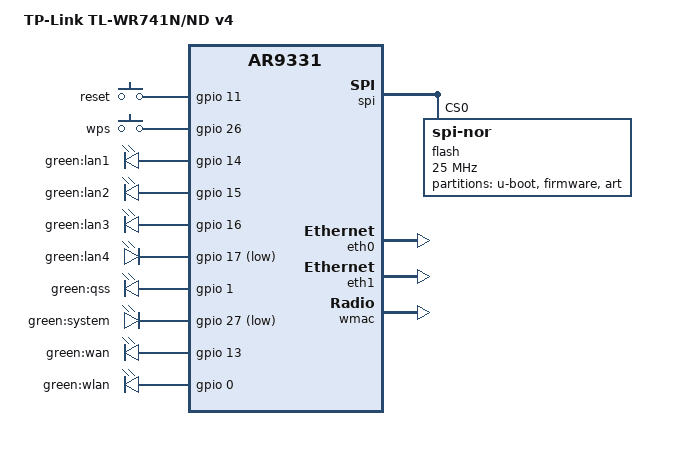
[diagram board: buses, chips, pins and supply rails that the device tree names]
// SPDX-License-Identifier: GPL-2.0-or-later OR MIT

#include "ar9331.dtsi"

#include <dt-bindings/gpio/gpio.h>
#include <dt-bindings/input/input.h>

/ {
	compatible = "tplink,tl-wr741n-v4", "qca,ar9331";
	model = "TP-Link TL-WR741N/ND v4";

	aliases {
		led-boot = &led_system;
		led-failsafe = &led_system;
		led-running = &led_system;
		led-upgrade = &led_system;
		label-mac-device = &wmac;
	};

	keys {
		compatible = "gpio-keys";

		reset {
			label = "reset";
			linux,code = <KEY_RESTART>;
			gpios = <&gpio 11 GPIO_ACTIVE_HIGH>;
			debounce-interval = <60>;
		};

		wps {
			label = "wps";
			linux,code = <KEY_WPS_BUTTON>;
			gpios = <&gpio 26 GPIO_ACTIVE_HIGH>;
			debounce-interval = <60>;
		};
	};

	leds {
		compatible = "gpio-leds";

		pinctrl-names = "default";
		pinctrl-0 = <&switch_led_disable_pins>;

		lan1 {
			label = "green:lan1";
			gpios = <&gpio 14 GPIO_ACTIVE_HIGH>;
		};

		lan2 {
			label = "green:lan2";
			gpios = <&gpio 15 GPIO_ACTIVE_HIGH>;
		};

		lan3 {
			label = "green:lan3";
			gpios = <&gpio 16 GPIO_ACTIVE_HIGH>;
		};

		lan4 {
			label = "green:lan4";
			gpios = <&gpio 17 GPIO_ACTIVE_LOW>;
		};

		qss {
			label = "green:qss";
			gpios = <&gpio 1 GPIO_ACTIVE_HIGH>;
		};

		led_system: system {
			label = "green:system";
			gpios = <&gpio 27 GPIO_ACTIVE_LOW>;
		};

		wan {
			label = "green:wan";
			gpios = <&gpio 13 GPIO_ACTIVE_HIGH>;
		};

		wlan {
			label = "green:wlan";
			gpios = <&gpio 0 GPIO_ACTIVE_HIGH>;
			linux,default-trigger = "phy0tpt";
		};
	};
};

&spi {
	status = "okay";

	flash@0 {
		compatible = "jedec,spi-nor";
		reg = <0>;
		spi-max-frequency = <25000000>;

		partitions {
			compatible = "fixed-partitions";
			#address-cells = <1>;
			#size-cells = <1>;

			uboot: partition@0 {
				reg = <0x0 0x20000>;
				label = "u-boot";
				read-only;
			};

			firmware: partition@20000 {
				compatible = "tplink,firmware";
				reg = <0x20000 0x3d0000>;
				label = "firmware";
			};

			art: partition@3f0000 {
				reg = <0x3f0000 0x10000>;
				label = "art";
				read-only;
			};
		};
	};
};

&eth0 {
	status = "okay";

	mtd-mac-address = <&uboot 0x1fc00>;
	mtd-mac-address-increment = <1>;

	gmac-config {
		device = <&gmac>;

		switch-phy-addr-swap = <1>;
		switch-phy-swap = <1>;
	};
};

&eth1 {
	status = "okay";

	mtd-mac-address = <&uboot 0x1fc00>;
	mtd-mac-address-increment = <(-1)>;
};

&wmac {
	status = "okay";

	mtd-cal-data = <&art 0x1000>;
	mtd-mac-address = <&uboot 0x1fc00>;
};
